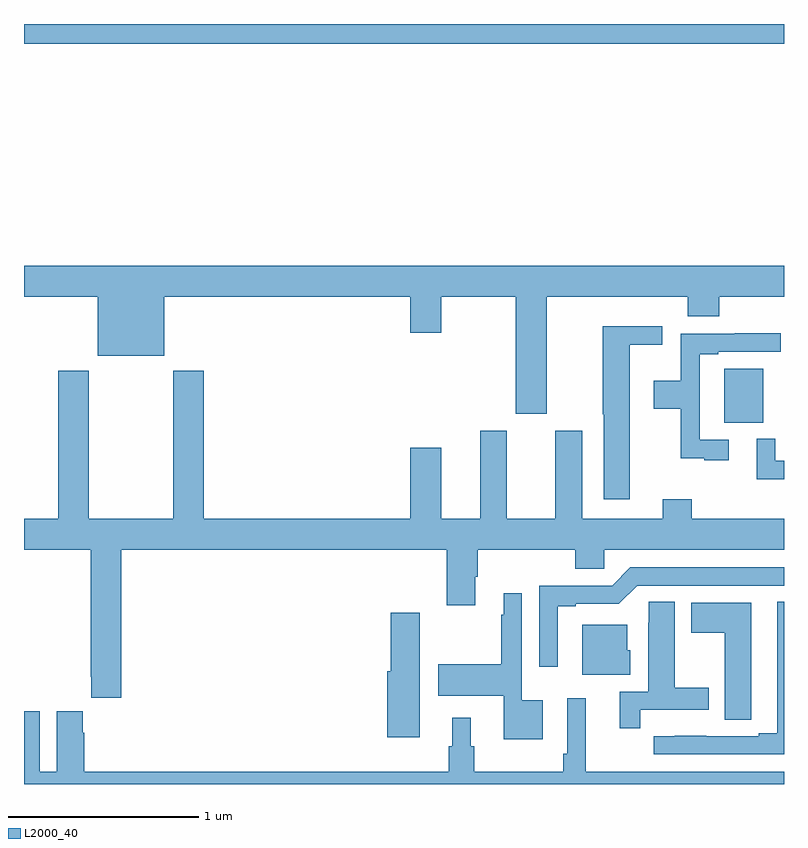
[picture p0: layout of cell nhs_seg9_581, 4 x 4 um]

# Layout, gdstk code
import gdstk
lib = gdstk.Library(unit=1e-6, precision=1e-09)
def R(c, l, rs):  # rectangles x0, y0, x1, y1
    for r in rs: c.add(gdstk.rectangle(r[:2], r[2:], *l))
def P(c, l, *ps):  # polygons
    for p in ps: c.add(gdstk.Polygon(p, *l))
L2000_40 = (2000, 40)

nhs_seg9_581 = lib.new_cell('nhs_seg9_581')
R(nhs_seg9_581, L2000_40, [(142.685,1218.401,142.891,1218.685), (139,1220.396,143,1220.5)])
P(nhs_seg9_581, L2000_40, [(141.751,1219.064),(142.493,1219.064),(142.493,1218.962),(142.658,1218.962),(142.658,1219.064),(143,1219.064),(143,1219.228),(139,1219.228),(139,1219.064),(139.388,1219.064),(139.388,1218.755),(139.738,1218.755),(139.738,1219.064),(141.032,1219.064),(141.032,1218.876),(141.196,1218.876),(141.196,1219.064),(141.587,1219.064),(141.587,1218.45),(141.751,1218.45)],
  [(142.189,1218.812),(142.36,1218.812),(142.36,1218.91),(142.045,1218.91),(142.045,1218.445),(142.052,1218.445),(142.052,1218),(142.189,1218)],
  [(142.708,1218.312),(142.557,1218.312),(142.557,1218.762),(142.654,1218.762),(142.654,1218.774),(142.984,1218.774),(142.984,1218.872),(142.741,1218.872),(142.741,1218.87),(142.456,1218.87),(142.456,1218.622),(142.314,1218.622),(142.314,1218.475),(142.456,1218.475),(142.456,1218.215),(142.58,1218.215),(142.58,1218.204),(142.708,1218.204)],
  [(141.797,1217.896),(141.541,1217.896),(141.541,1218.358),(141.401,1218.358),(141.401,1217.896),(141.196,1217.896),(141.196,1218.271),(141.032,1218.271),(141.032,1217.896),(139.946,1217.896),(139.946,1218.676),(139.786,1218.676),(139.786,1217.896),(139.341,1217.896),(139.341,1218.676),(139.181,1218.676),(139.181,1217.896),(139,1217.896),(139,1217.732),(139.351,1217.732),(139.351,1217.065),(139.355,1217.065),(139.355,1216.953),(139.511,1216.953),(139.511,1217.732),(141.224,1217.732),(141.224,1217.442),(141.376,1217.442),(141.376,1217.59),(141.389,1217.59),(141.389,1217.732),(141.902,1217.732),(141.902,1217.634),(142.053,1217.634),(142.053,1217.732),(143,1217.732),(143,1217.896),(142.514,1217.896),(142.514,1217.998),(142.361,1217.998),(142.361,1217.896),(141.937,1217.896),(141.937,1218.358),(141.797,1218.358)],
  [(143,1218.201),(142.953,1218.201),(142.953,1218.316),(142.856,1218.316),(142.856,1218.105),(143,1218.105)],
  [(141.808,1217.436),(141.904,1217.436),(141.904,1217.448),(142.131,1217.448),(142.227,1217.544),(143,1217.544),(143,1217.64),(142.191,1217.64),(142.095,1217.544),(141.711,1217.544),(141.711,1217.118),(141.808,1217.118)],
  [(141.73,1216.942),(141.621,1216.942),(141.621,1217.503),(141.524,1217.503),(141.524,1217.39),(141.513,1217.39),(141.513,1217.13),(141.18,1217.13),(141.18,1216.964),(141.524,1216.964),(141.524,1216.736),(141.73,1216.736)],
  [(143,1217.459),(142.964,1217.459),(142.964,1216.767),(142.868,1216.767),(142.868,1216.752),(142.592,1216.752),(142.592,1216.753),(142.426,1216.753),(142.426,1216.752),(142.314,1216.752),(142.314,1216.656),(143,1216.656)],
  [(142.244,1216.89),(142.603,1216.89),(142.603,1217.007),(142.426,1217.007),(142.426,1217.459),(142.287,1217.459),(142.287,1217.348),(142.286,1217.348),(142.286,1216.986),(142.136,1216.986),(142.136,1216.794),(142.244,1216.794)],
  [(142.827,1216.945),(142.828,1216.945),(142.828,1217.455),(142.511,1217.455),(142.511,1217.296),(142.688,1217.296),(142.688,1216.837),(142.827,1216.837)],
  [(141.082,1217.218),(141.084,1217.218),(141.084,1217.401),(140.93,1217.401),(140.93,1217.094),(140.912,1217.094),(140.912,1216.746),(141.082,1216.746)],
  [(142.192,1217.205),(142.174,1217.205),(142.174,1217.338),(141.938,1217.338),(141.938,1217.075),(142.192,1217.075)],
  [(143,1216.564),(141.956,1216.564),(141.956,1216.951),(141.858,1216.951),(141.858,1216.66),(141.838,1216.66),(141.838,1216.564),(141.371,1216.564),(141.371,1216.698),(141.352,1216.698),(141.352,1216.849),(141.254,1216.849),(141.254,1216.698),(141.235,1216.698),(141.235,1216.564),(139.316,1216.564),(139.316,1216.769),(139.309,1216.769),(139.309,1216.882),(139.172,1216.882),(139.172,1216.564),(139.084,1216.564),(139.084,1216.882),(139,1216.882),(139,1216.5),(143,1216.5)])

lib.write_gds('nhs_seg9_581.gds')
